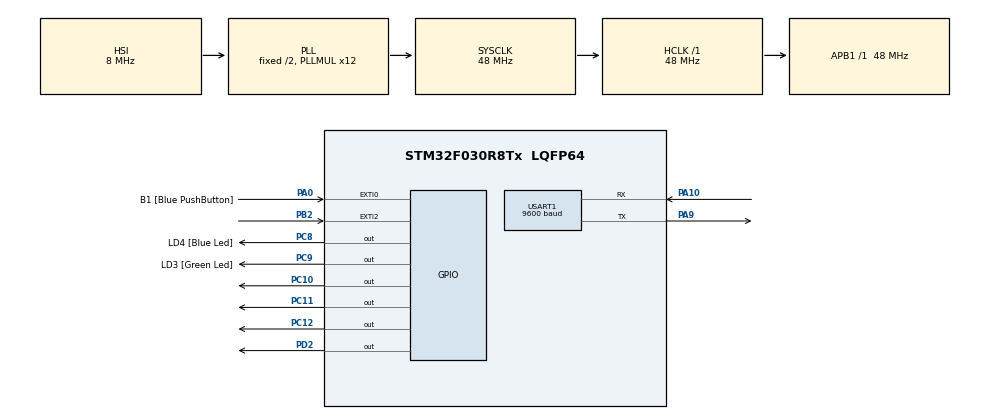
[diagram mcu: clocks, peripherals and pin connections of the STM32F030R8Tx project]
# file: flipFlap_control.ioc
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Dma.Request0=USART1_RX
Dma.Request1=USART1_TX
Dma.USART1_RX.0.Direction=DMA_PERIPH_TO_MEMORY
Dma.USART1_RX.0.Instance=DMA1_Channel3
Dma.USART1_RX.0.MemDataAlignment=DMA_MDATAALIGN_BYTE
Dma.USART1_RX.0.MemInc=DMA_MINC_DISABLE
Dma.USART1_RX.0.Mode=DMA_CIRCULAR
Dma.USART1_RX.0.PeriphDataAlignment=DMA_PDATAALIGN_BYTE
Dma.USART1_RX.0.PeriphInc=DMA_PINC_DISABLE
Dma.USART1_RX.0.Priority=DMA_PRIORITY_LOW
Dma.USART1_TX.1.Direction=DMA_MEMORY_TO_PERIPH
Dma.USART1_TX.1.Instance=DMA1_Channel2
Dma.USART1_TX.1.MemDataAlignment=DMA_MDATAALIGN_BYTE
Dma.USART1_TX.1.MemInc=DMA_MINC_ENABLE
Dma.USART1_TX.1.Mode=DMA_CIRCULAR
Dma.USART1_TX.1.PeriphDataAlignment=DMA_PDATAALIGN_BYTE
Dma.USART1_TX.1.PeriphInc=DMA_PINC_DISABLE
Dma.USART1_TX.1.Priority=DMA_PRIORITY_LOW
Mcu.Family=STM32F0
Mcu.Name=STM32F030R8Tx
Mcu.Package=LQFP64
NVIC.DMA1_Channel2_3_IRQn=true\:0\:0\:false
NVIC.USART1_IRQn=true\:0\:0\:false
PA0.GPIO_Label=B1 [Blue PushButton]
PA0.GPIO_ModeDefaultEXTI=GPIO_MODE_EVT_RISING
PA0.Signal=GPXTI0
PA10.Mode=Asynchronous
PA10.Signal=USART1_RX
PA13.GPIO_Label=SWDIO
PA13.Mode=Serial-WireDebug
PA13.Signal=SYS_SWDIO
PA14.GPIO_Label=SWCLK
PA14.Mode=Serial-WireDebug
PA14.Signal=SYS_SWCLK
PA9.Mode=Asynchronous
PA9.Signal=USART1_TX
PB2.Signal=GPXTI2
PC10.GPIO_Speed=GPIO_SPEED_HIGH
PC10.Signal=GPIO_Output
PC11.GPIO_Speed=GPIO_SPEED_HIGH
PC11.Signal=GPIO_Output
PC12.Signal=GPIO_Output
PC8.GPIO_Label=LD4 [Blue Led]
PC8.Signal=GPIO_Output
PC9.GPIO_Label=LD3 [Green Led]
PC9.Signal=GPIO_Output
PD2.Signal=GPIO_Output
ProjectManager.TargetToolchain=MDK-ARM V5
RCC.AHBFreq_Value=48000000
RCC.APB1Freq_Value=48000000
RCC.APB1TimFreq_Value=48000000
RCC.HCLKFreq_Value=48000000
RCC.PLLMUL=RCC_PLL_MUL12
RCC.SYSCLKFreq_VALUE=48000000
RCC.SYSCLKSource=RCC_SYSCLKSOURCE_PLLCLK
USART1.BaudRate=9600
board=STM32F0308-DISCO

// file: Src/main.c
/**
  ******************************************************************************
  * File Name          : main.c
  * Description        : Main program body
  ******************************************************************************
  *
  * COPYRIGHT(c) 2016 STMicroelectronics
  *
  * Redistribution and use in source and binary forms, with or without modification,
  * are permitted provided that the following conditions are met:
  *   1. Redistributions of source code must retain the above copyright notice,
  *      this list of conditions and the following disclaimer.
  *   2. Redistributions in binary form must reproduce the above copyright notice,
  *      this list of conditions and the following disclaimer in the documentation
  *      and/or other materials provided with the distribution.
  *   3. Neither the name of STMicroelectronics nor the names of its contributors
  *      may be used to endorse or promote products derived from this software
  *      without specific prior written permission.
  *
  * THIS SOFTWARE IS PROVIDED BY THE COPYRIGHT HOLDERS AND CONTRIBUTORS "AS IS"
  * AND ANY EXPRESS OR IMPLIED WARRANTIES, INCLUDING, BUT NOT LIMITED TO, THE
  * IMPLIED WARRANTIES OF MERCHANTABILITY AND FITNESS FOR A PARTICULAR PURPOSE ARE
  * DISCLAIMED. IN NO EVENT SHALL THE COPYRIGHT HOLDER OR CONTRIBUTORS BE LIABLE
  * FOR ANY DIRECT, INDIRECT, INCIDENTAL, SPECIAL, EXEMPLARY, OR CONSEQUENTIAL
  * DAMAGES (INCLUDING, BUT NOT LIMITED TO, PROCUREMENT OF SUBSTITUTE GOODS OR
  * SERVICES; LOSS OF USE, DATA, OR PROFITS; OR BUSINESS INTERRUPTION) HOWEVER
  * CAUSED AND ON ANY THEORY OF LIABILITY, WHETHER IN CONTRACT, STRICT LIABILITY,
  * OR TORT (INCLUDING NEGLIGENCE OR OTHERWISE) ARISING IN ANY WAY OUT OF THE USE
  * OF THIS SOFTWARE, EVEN IF ADVISED OF THE POSSIBILITY OF SUCH DAMAGE.
  *
  ******************************************************************************
  */
#include "stm32f0xx_hal.h"

/* USER CODE BEGIN Includes */
/*
	GPIOC 2 ENABLE, 10-11 sürücü için çikis pinleri
	GPIOB 2 EXTI2 homeState için interrupt giris pini
*/
#ifdef __GNUC__
	#define PUTCHAR_PROTOTYPE int __io_putchar(int ch)
	#define GETCHAR_PROTOTYPE int __io_getchar(int chr)
#else
	#define PUTCHAR_PROTOTYPE int fputc(int ch,FILE *f)
	#define GETCHAR_PROTOTYPE int fgetc(FILE *f)
#endif
/* USER CODE END Includes */

UART_HandleTypeDef huart1;
DMA_HandleTypeDef hdma_usart1_rx;
DMA_HandleTypeDef hdma_usart1_tx;

/* USER CODE BEGIN PV */
/* Private variables ---------------------------------------------------------*/
uint16_t latchTime=75;
uint16_t flipState=RESET;
__IO uint16_t homeState=RESET;
uint8_t flipChars[]= " 1234567890ABCDEFGHIJKLMNOPQRSTUVWXYZ-./abcdefghijklmnopqrstuvwxyz";
uint8_t inputChar;
uint16_t charComplete=RESET;
uint16_t flipToIdx=0;
uint16_t flipAtIdx=0;

const uint32_t charLookup[] = {
  0, 1, 2, 3, 4, 5, 6, 7, 8, 9,
  10, 11, 12, 13, 14, 15, 16, 17, 18, 19,
  20, 21, 22, 23, 24, 25, 26, 27, 28, 29,
  30, 31, 32, 33, 34, 35, 36, 37, 38, 39,
  11, 12, 13, 14, 15, 16, 17, 18, 19, 20,
  21, 22, 23, 24, 25, 26, 27, 28, 29, 30,
  31, 32, 33, 34, 35, 36, 37, 38,
};

/* USER CODE END PV */

void SystemClock_Config(void);
static void MX_GPIO_Init(void);
static void MX_DMA_Init(void);
static void MX_USART1_UART_Init(void);

/* USER CODE BEGIN PFP */
/* Private function prototypes -----------------------------------------------*/
int home();
int flipFlaps(uint8_t flapsToDo);
int flipFlap();
/* USER CODE END PFP */

/* USER CODE BEGIN 0 */
GETCHAR_PROTOTYPE
{
	HAL_UART_Receive(&huart1,(uint8_t *)&inputChar,1,1000);
	return inputChar;
}

PUTCHAR_PROTOTYPE
 {
	 HAL_UART_Transmit(&huart1,(uint8_t *)&ch,1,1000);
	 return ch;
 }
/* USER CODE END 0 */

int main(void)
{

  /* MCU Configuration----------------------------------------------------------*/

  /* Reset of all peripherals, Initializes the Flash interface and the Systick. */
  HAL_Init();

  /* Configure the system clock */
  SystemClock_Config();

  /* Initialize all configured peripherals */
  MX_GPIO_Init();
  MX_DMA_Init();
  MX_USART1_UART_Init();

  /* Infinite loop */
  while (1)
  {

  /* USER CODE BEGIN 3 */
		if(charComplete){		//veri gelmesi bekleniyor
			printf("%c\n\r",inputChar);
			uint16_t charToIdx=0;
			while(1){
				//gelen karakterin karakter dizinin kacinci elemani
				//olduguna bakiliyor
				if(inputChar==flipChars[charToIdx]){
					flipToIdx=charLookup[charToIdx];
					break;
				}
				charToIdx++;
			}
			//eger baslangic konumundan gecilmesi gerekiyorsa önce
			//baslangic konumuna gidiliyor
			if(flipToIdx<flipAtIdx){
				home();
				flipFlaps(flipToIdx);
			}
			else //gerekmiyorsa aradaki adim farki kadar
					 //hareket ettiriliyor
				flipFlaps(flipToIdx-flipAtIdx);
			//konum ve veri bilgileri guncelleniyor
			flipAtIdx=flipToIdx;
			charComplete=RESET;

		}
  }
  /* USER CODE END 3 */

}

/** System Clock Configuration
*/
void SystemClock_Config(void)
{

  RCC_OscInitTypeDef RCC_OscInitStruct;
  RCC_ClkInitTypeDef RCC_ClkInitStruct;
  RCC_PeriphCLKInitTypeDef PeriphClkInit;

  RCC_OscInitStruct.OscillatorType = RCC_OSCILLATORTYPE_HSI;
  RCC_OscInitStruct.HSIState = RCC_HSI_ON;
  RCC_OscInitStruct.HSICalibrationValue = 16;
  RCC_OscInitStruct.PLL.PLLState = RCC_PLL_ON;
  RCC_OscInitStruct.PLL.PLLSource = RCC_PLLSOURCE_HSI;
  RCC_OscInitStruct.PLL.PLLMUL = RCC_PLL_MUL12;
  RCC_OscInitStruct.PLL.PREDIV = RCC_PREDIV_DIV1;
  HAL_RCC_OscConfig(&RCC_OscInitStruct);

  RCC_ClkInitStruct.ClockType = RCC_CLOCKTYPE_SYSCLK;
  RCC_ClkInitStruct.SYSCLKSource = RCC_SYSCLKSOURCE_PLLCLK;
  RCC_ClkInitStruct.AHBCLKDivider = RCC_SYSCLK_DIV1;
  RCC_ClkInitStruct.APB1CLKDivider = RCC_HCLK_DIV1;
  HAL_RCC_ClockConfig(&RCC_ClkInitStruct, FLASH_LATENCY_1);

  PeriphClkInit.PeriphClockSelection = RCC_PERIPHCLK_USART1;
  PeriphClkInit.Usart1ClockSelection = RCC_USART1CLKSOURCE_PCLK1;
  HAL_RCCEx_PeriphCLKConfig(&PeriphClkInit);

  HAL_SYSTICK_Config(HAL_RCC_GetHCLKFreq()/1000);

  HAL_SYSTICK_CLKSourceConfig(SYSTICK_CLKSOURCE_HCLK);

  /* SysTick_IRQn interrupt configuration */
  HAL_NVIC_SetPriority(SysTick_IRQn, 0, 0);
}

/* USART1 init function */
void MX_USART1_UART_Init(void)
{

  huart1.Instance = USART1;
  huart1.Init.BaudRate = 9600;
  huart1.Init.WordLength = UART_WORDLENGTH_8B;
  huart1.Init.StopBits = UART_STOPBITS_1;
  huart1.Init.Parity = UART_PARITY_NONE;
  huart1.Init.Mode = UART_MODE_TX_RX;
  huart1.Init.HwFlowCtl = UART_HWCONTROL_NONE;
  huart1.Init.OverSampling = UART_OVERSAMPLING_16;
  huart1.Init.OneBitSampling = UART_ONEBIT_SAMPLING_DISABLED ;
  huart1.AdvancedInit.AdvFeatureInit = UART_ADVFEATURE_NO_INIT;
  HAL_UART_Init(&huart1);

}

void MX_DMA_Init(void)
{
  /* DMA controller clock enable */
  __DMA1_CLK_ENABLE();

  /* DMA interrupt init */
  HAL_NVIC_SetPriority(DMA1_Channel2_3_IRQn, 0, 0);
  HAL_NVIC_EnableIRQ(DMA1_Channel2_3_IRQn);

}

/** Configure pins as
        * Analog
        * Input
        * Output
        * EVENT_OUT
        * EXTI
*/
void MX_GPIO_Init(void)
{

  GPIO_InitTypeDef GPIO_InitStruct;

  /* GPIO Ports Clock Enable */
  __GPIOA_CLK_ENABLE();
  __GPIOB_CLK_ENABLE();
  __GPIOC_CLK_ENABLE();
  __GPIOD_CLK_ENABLE();

  /*Configure GPIO pin : B1_Pin */
  GPIO_InitStruct.Pin = B1_Pin;
  GPIO_InitStruct.Mode = GPIO_MODE_EVT_RISING;
  GPIO_InitStruct.Pull = GPIO_NOPULL;
  HAL_GPIO_Init(B1_GPIO_Port, &GPIO_InitStruct);

  /*Configure GPIO pin : PB2 */
  GPIO_InitStruct.Pin = GPIO_PIN_2;
  GPIO_InitStruct.Mode = GPIO_MODE_IT_RISING;
  GPIO_InitStruct.Pull = GPIO_NOPULL;
  HAL_GPIO_Init(GPIOB, &GPIO_InitStruct);

  /*Configure GPIO pins : LD4_Pin LD3_Pin PC12 */
  GPIO_InitStruct.Pin = LD4_Pin|LD3_Pin|GPIO_PIN_12;
  GPIO_InitStruct.Mode = GPIO_MODE_OUTPUT_PP;
  GPIO_InitStruct.Pull = GPIO_NOPULL;
  GPIO_InitStruct.Speed = GPIO_SPEED_LOW;
  HAL_GPIO_Init(GPIOC, &GPIO_InitStruct);

  /*Configure GPIO pins : PC10 PC11 */
  GPIO_InitStruct.Pin = GPIO_PIN_10|GPIO_PIN_11;
  GPIO_InitStruct.Mode = GPIO_MODE_OUTPUT_PP;
  GPIO_InitStruct.Pull = GPIO_NOPULL;
  GPIO_InitStruct.Speed = GPIO_SPEED_HIGH;
  HAL_GPIO_Init(GPIOC, &GPIO_InitStruct);

  /*Configure GPIO pin : PD2 */
  GPIO_InitStruct.Pin = GPIO_PIN_2;
  GPIO_InitStruct.Mode = GPIO_MODE_OUTPUT_PP;
  GPIO_InitStruct.Pull = GPIO_NOPULL;
  GPIO_InitStruct.Speed = GPIO_SPEED_LOW;
  HAL_GPIO_Init(GPIOD, &GPIO_InitStruct);

}

/* USER CODE BEGIN 4 */
int home(){
	while(homeState!=SET){
	flipFlap();
	homeState=SET;
	}
	HAL_Delay(50);
	return 0;
}
int flipFlaps(uint8_t flapToDo){
	for(int i=0;i<flapToDo;i++){
		if(flipState==RESET) flipState=SET; else flipState=RESET;
		HAL_GPIO_WritePin(GPIOC,GPIO_PIN_2,GPIO_PIN_SET);
		HAL_GPIO_WritePin(GPIOC,GPIO_PIN_10,flipState);
		HAL_GPIO_WritePin(GPIOC,GPIO_PIN_11,!flipState);
		HAL_Delay(latchTime);
		HAL_GPIO_WritePin(GPIOC,GPIO_PIN_2,GPIO_PIN_RESET);
	}
	return 0;
}
int flipFlap(){
	if(flipState==RESET) flipState=SET; else flipState=RESET;
	HAL_GPIO_WritePin(GPIOC,GPIO_PIN_2,GPIO_PIN_SET);
	HAL_GPIO_WritePin(GPIOC,GPIO_PIN_10,flipState);
	HAL_GPIO_WritePin(GPIOC,GPIO_PIN_11,!flipState);
	HAL_Delay(latchTime);
	HAL_GPIO_WritePin(GPIOC,GPIO_PIN_2,GPIO_PIN_RESET);

	return 0;
}
void HAL_GPIO_EXTI_Callback(uint16_t GPIO_Pin){
	homeState=SET;
}
void HAL_UART_RxCpltCallback(UART_HandleTypeDef *huart){
	charComplete=SET;
}
/* USER CODE END 4 */

/************************ (C) COPYRIGHT STMicroelectronics *****END OF FILE****/
